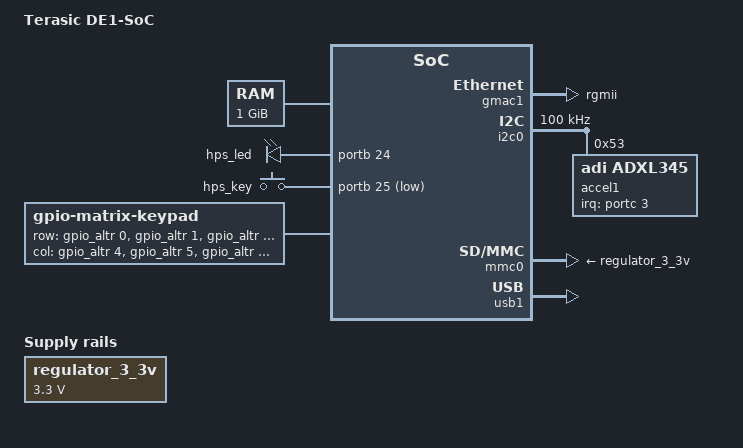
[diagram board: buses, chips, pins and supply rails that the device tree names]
// SPDX-License-Identifier: GPL-2.0+
/*
 * Copyright (C) 2013 Steffen Trumtrar <s.trumtrar@pengutronix.de>
 */

#include "socfpga_cyclone5.dtsi"
#include <dt-bindings/gpio/gpio.h>
/ {
	model = "Terasic DE1-SoC";
	compatible = "terasic,socfpga-cyclone5-sockit", "altr,socfpga-cyclone5", "altr,socfpga";

	chosen {
		bootargs = "earlyprintk";
		stdout-path = "serial0:115200n8";
	};

	memory@0 {
		name = "memory";
		device_type = "memory";
		reg = <0x0 0x40000000>; /* 1GB */
	};

	aliases {
		/* this allow the ethaddr uboot environmnet variable contents
		 * to be added to the gmac1 device tree blob.
		 */
		ethernet0 = &gmac1;
	};

	leds {
		compatible = "gpio-leds";

		hps_led {
			label = "hps_led";
			gpios = <&portb 24 0>;	/* HPS_GPIO53 */
			linux,default-trigger = "heartbeat";
		};
	};

	soc {
		gpio_altr: gpio@0xff200000 {
		    compatible = "altr,pio-1.0";
		    reg = <0xff200000 0x10>;
		    interrupts = <0 40 3>; // IRQ 72 - 32 = 40
		    gpio-controller;
		    #gpio-cells = <2>;
		    interrupt-controller;
		    #interrupt-cells = <2>;
		    altr,ngpio = <16>;
		    altr,interrupt-type = <3>; 
		};
			
	};
	gpio-keys {
		compatible = "gpio-keys";
		
		hps_key {
			label = "hps_key";
			gpios = <&portb 25 1>;	/* HPS_GPI8 */
			linux,code = <16>;	/* KEY_F17 */
		};

	};


	matrix-keypad {
	    compatible = "gpio-matrix-keypad";
	    debounce-delay-ms = <20>;
	    col-scan-delay-us = <10>;
	    
	    row-gpios = <
		&gpio_altr 0 0
		&gpio_altr 1 0
		&gpio_altr 2 0
		&gpio_altr 3 0
	    >;
	    
	    col-gpios = <
		&gpio_altr 4 0
		&gpio_altr 5 0
		&gpio_altr 6 0
		&gpio_altr 7 0
	    >;
	    
	    linux,keymap = <
		0x00000002
		0x00010003
		0x00020004
		0x0003001E
		0x01000005
		0x01010006
		0x01020007
		0x01030030
		0x02000008
		0x02010009
		0x0202000A
		0x0203002E
		0x03000037
		0x0301000B
		0x030200E3
		0x03030020
	    >;
	};

	regulator_3_3v: regulator {
		compatible = "regulator-fixed";
		regulator-name = "VCC3P3";
		regulator-min-microvolt = <3300000>;
		regulator-max-microvolt = <3300000>;
	};
};

&gmac1 {
	status = "okay";
	phy-mode = "rgmii";

	rxd0-skew-ps = <0>;
	rxd1-skew-ps = <0>;
	rxd2-skew-ps = <0>;
	rxd3-skew-ps = <0>;
	txen-skew-ps = <0>;
	txc-skew-ps = <2600>;
	rxdv-skew-ps = <0>;
	rxc-skew-ps = <2000>;
};

&gpio0 {	/* GPIO 0..29 */
	status = "okay";
};

&gpio1 {	/* GPIO 30..57 */
	status = "okay";
};

&gpio2 {	/* GPIO 58..66 (HLGPI 0..13 at offset 13) */
	status = "okay";
};

&i2c0 {
	status = "okay";
	clock-frequency = <100000>;

	accel1: accelerometer@53 {
		compatible = "adi,adxl345";
		reg = <0x53>;

		interrupt-parent = <&portc>;
		interrupts = <3 2>;
	};
};

&mmc0 {
	vmmc-supply = <&regulator_3_3v>;
	vqmmc-supply = <&regulator_3_3v>;
	status = "okay";
};

&usb1 {
	status = "okay";
};
